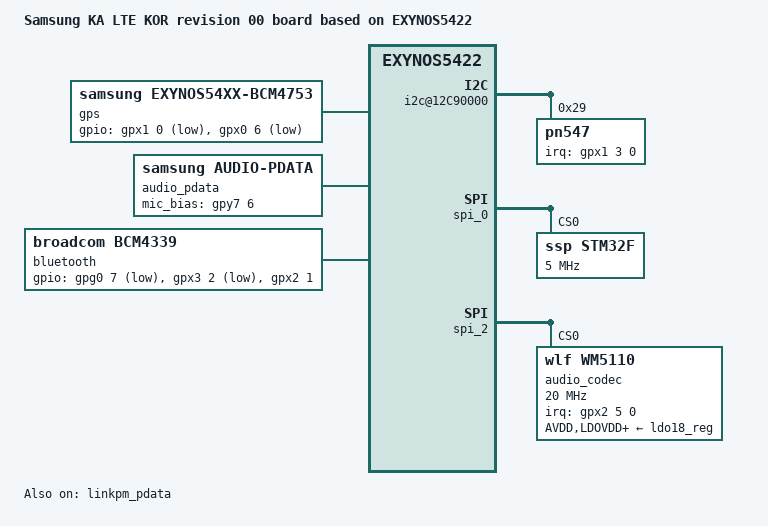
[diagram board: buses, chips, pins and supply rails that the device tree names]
/*
 * SAMSUNG universal5422 board device tree source
 *
 * Copyright (c) 2013 Samsung Electronics Co., Ltd.
 *             http://www.samsung.com
 *
 * This program is free software; you can redistribute it and/or modify
 * it under the terms of the GNU General Public License version 2 as
 * published by the Free Software Foundation.
*/

/dts-v1/;
#include "exynos5422-k_common.dtsi"
#include "exynos5422-k_battery.dtsi"
#include "exynos5422-tdmb-klte-r00.dtsi"

/ {
	model = "Samsung KA LTE KOR revision 00 board based on EXYNOS5422";
	model_info-chip = <5422>;
	model_info-platform = "k3g";
	model_info-subtype = "k3g_eur_open";
	model_info-hw_rev = <0>;
	model_info-hw_rev_end = <0>;
	compatible = "samsung,KA LTE KOR,r00", "samsung,exynos5422";


	pinctrl@14010000 {
		uart1_rts: uart1-rts {
			samsung,pins = "gpa0-7";
			samsung,pin-function = <2>;
			samsung,pin-pud = <0>;
			samsung,pin-con-pdn = <1>;
			samsung,pin-pud-pdn = <0>;
		};

		uart1_cts: uart1-cts {
			samsung,pins = "gpa0-6";
			samsung,pin-function = <2>;
			samsung,pin-pud = <0>;
			samsung,pin-con-pdn = <2>;
			samsung,pin-pud-pdn = <1>;
		};

		uart1_tx: uart1-tx {
			samsung,pins = "gpa0-5";
			samsung,pin-function = <2>;
			samsung,pin-pud = <0>;
			samsung,pin-con-pdn = <2>;
			samsung,pin-pud-pdn = <3>;
		};

		uart1_rx: uart1-rx {
			samsung,pins = "gpa0-4";
			samsung,pin-function = <2>;
			samsung,pin-pud = <3>;
			samsung,pin-con-pdn = <2>;
			samsung,pin-pud-pdn = <3>;
		};

		nfc_cfg: nfc-cfg {
			samsung,pins = "gph0-6";
			samsung,pin-function = <2>;
		};
	};

	serial@12C10000 {
		pinctrl-0 = <&uart1_rts &uart1_cts &uart1_tx &uart1_rx>;
	};

	gps {
		compatible = "samsung,exynos54xx-bcm4753";
		gpios = <&gpx1 0 0x1   /* GPS_EN */
             &gpx0 6 0xf   /* GPS_INT */
			>;
		status = "okay";
	};

	i2c@12C90000 {
		samsung,i2c-sda-delay = <100>;
		samsung,i2c-max-bus-freq = <400000>;
		#address-cells = <1>;
		#size-cells = <0>;
		status = "okay";

		pn547@29 {
			compatible = "pn547";
			reg = <0x29>;
			interrupts = <3 0 0>;
			interrupt-parent = <&gpx1>;

			pn547-en = <&gpg1 2 0x00>;
			pn547-firmware = <&gpg1 1 0x00>;
			pn547-irq = <&gpx1 3 0xf>;
			pn547-clk-req = <&gpx0 0 0xf>;
			pn547-clk-use = <1>;
			pinctrl-names = "default";
			pinctrl-0 = <&nfc_cfg>;
			clocks = <&clock 1217>;
			clock-names = "sclk_isp_sensor1";
		};
	};

	spi_0: spi@12d20000 {
		#address-cells = <1>;
		#size-cells = <0>;
		pinctrl-names = "default";
		pinctrl-0 = <&spi0_bus>;

		STM32F@0 {
			compatible = "ssp,STM32F";
			reg = <0>;
			spi-max-frequency = <5000000>;
			pinctrl-names = "default";
			pinctrl-0 = <&ssp_irq &ssp_irq2 &ssp_ap_int>;

			gpio-controller;
			#gpio-cells = <2>;
			ssp-irq = <&gpx3 3 0x00>;
			ssp-irq2 = <&gpx3 4 0x00>;
			ssp-ap-int = <&gpx3 0 0x00>;
			ssp-reset = <&gpg0 0 0x00>;
			ssp-acc-position = <1>;
			ssp-mag-position = <6>;
			ssp-sns-combination = <0>;
			ssp-ap-rev = <1>;

			controller-data {
				cs-gpio = <&gpa2 1 0>;
				samsung,spi-feedback-delay = <0>;
			};
		};
	};

	/* modem_interface_driver: 3G */
	mif_pdata {
		compatible = "sec_modem,modem_pdata";
		status = "okay";
		pinctrl-names = "default";
		pinctrl-0 = <&ap_dump_int &cp_on &reset_req_n>;

		mif,gpio_cp_on = <&gpg1 4 0x1>;
		mif,gpio_reset_req_n = <&gpj4 1 0x1>;
		mif,gpio_cp_reset = <&gpx1 1 0x1>;
		mif,gpio_pda_active = <&gpx3 6 0x1>;
		mif,gpio_phone_active = <&gpx2 7 0xf>;
		mif,gpio_cp_dump_int = <&gpx2 6 0x0>;
		mif,gpio_ap_dump_int = <&gpg1 6 0x1>;
	}; /* end of mif_pdata */

	/* modem_interface_driver: 3G */
	linkpm_pdata {
		compatible = "sec_modem,linkpm_pdata";
		status = "okay";
		pinctrl-names = "default";
		pinctrl-0 = <&link_active &link_slavewake>;

		reg = <0x12110000 0x100>, /* EHCI */
		      <0x12130000 0x100>; /* PHY */

		linkpm,gpio_link_active = <&gpg1 7 0x1>;
		linkpm,gpio_link_hostwake = <&gpx1 2 0xf>;
		linkpm,gpio_link_slavewake = <&gpg1 0 0x1>;
		linkpm,gpio_suspend_req = <&gpg1 3 0x1>;
	};

	pinctrl@14000000 {
		link_slavewake: link_slavewake {
			samsung,pins = "gpg1-0";
			samsung,pin-function = <1>;
			samsung,pin-con-pdn = <3>;
			samsung,pin-pud-pdn = <0>;
		};
		cp_on: cp_on {
			samsung,pins = "gpg1-4";
			samsung,pin-function = <1>;
			samsung,pin-con-pdn = <0>;
			samsung,pin-pud-pdn = <0>;
		};
		ap_dump_int: ap_dump_int {
			samsung,pins = "gpg1-6";
			samsung,pin-function = <1>;
			samsung,pin-con-pdn = <3>;
			samsung,pin-pud-pdn = <0>;
		};
		link_active: link_active {
			samsung,pins = "gpg1-7";
			samsung,pin-function = <1>;
			samsung,pin-con-pdn = <0>;
			samsung,pin-pud-pdn = <0>;
		};
		reset_req_n: reset_req_n {
			samsung,pins = "gpj4-1";
			samsung,pin-function = <1>;
			samsung,pin-con-pdn = <1>;
			samsung,pin-pud-pdn = <0>;
		};
	};

	spi_2: spi@12d40000 {
		#address-cells = <1>;
		#size-cells = <0>;
		pinctrl-names = "default";
		pinctrl-0 = <&spi2_bus>;

		audio_codec: wm5110@0 {
			compatible = "wlf,wm5110";
			reg = <0x0>;
			spi-max-frequency = <20000000>;
			interrupts = <5 0 0>;
			interrupt-parent = <&gpx2>;

			gpio-controller;
			#gpio-cells = <2>;

			pinctrl-names ="default";
			pinctrl-0 = <&codec_ctrl &audio_ctrl>;

			wlf,reset = <&gpg2 0 0>;
			wlf,ldoena = <&gpg0 1 0>;
			wlf,micd-detect-debounce = <500>;
			wlf,micd-bias-start-time = <0x1>;
			wlf,micd-rate = <0x7>;
			wlf,micd-dbtime = <0x1>;
			wlf,micd-timeout = <1000>;
			wlf,micd-force-micbias;
			wlf,micd-ranges = <
				139 226
				295 115
				752 114
				1257 217
			>;

			wlf,micd-configs = <
				0x0 1 0
			>;

			wlf,micbias1 = <2800 0 1 0 0>;
			wlf,micbias2 = <1800 0 1 0 0>;
			wlf,micbias3 = <1800 0 1 0 0>;

			wlf,gpio-defaults = <
				0xA101
				0xA101
				0xA101
				0xA101
				0x8101
			>;

			wlf,gpsw = <0x3>;
			wlf,use-jd-gpio;
			wlf,jd-gpio-nopull;
			wlf,micd-software-compare;

			wlf,max-channels-clocked = <2 0 0>;
			/* 0:MICVDD 1:MICBIAS1 2:MICBIAS2 3:MICBIAS3 */
			wlf,dmic-ref = <2 1 3 2>;
			/* 1st cell:IN1 2rd cell:IN2 3nd cell:IN3 4th cell:IN4 */
			wlf,inmode = <2 0 2 2>;

			AVDD-supply = <&ldo18_reg>;
			LDOVDD-supply = <&ldo18_reg>;
			DBVDD1-supply = <&ldo18_reg>;

			CPVDD-supply = <&ldo18_reg>;
			DBVDD2-supply = <&ldo18_reg>;
			DBVDD3-supply = <&ldo18_reg>;
			SPKVDDL-supply = <&ldo18_reg>;
			SPKVDDR-supply = <&ldo18_reg>;

			adsps {
				#address-cells = <1>;
				#size-cells = <0>;

				adsp@1100 {
					reg = <0x1100>;
					firmware {
						EDAC {
							wlf,wmfw-file = "edac";
							wlf,bin-file = "edac";
						};
						TRACE {
							wlf,wmfw-file = "trace";
							wlf,compr-caps = <1 8 0x1FFE 0x4 1>;
						};
					};
				};
				adsp@1200 {
					reg = <0x1200>;
					firmware {
						TX_NB {
							wlf,wmfw-file = "tx-nb";
						};
						TX_WB {
							wlf,wmfw-file = "tx-wb";
						};
					};
				};
				adsp@1300 {
					reg = <0x1300>;
					firmware {
						TX_NB {
							wlf,wmfw-file = "tx-nb";
							wlf,bin-file = "tx-nb";
						};
						TX_WB {
							wlf,wmfw-file = "tx-wb";
							wlf,bin-file = "tx-wb";
						};
						VOICECONTROL {
							wlf,wmfw-file = "ez2-control";
							wlf,bin-file = "ez2-control";
						};
					};
				};
				adsp@1400 {
					reg = <0x1400>;
					firmware {
						RX_NB {
							wlf,wmfw-file = "rx-anc-nb";
							wlf,bin-file = "rx-anc-nb";
						};
						RX_WB {
							wlf,wmfw-file = "rx-anc-wb";
							wlf,bin-file = "rx-anc-wb";
						};
					};
				};
			};
			controller-data {
				cs-gpio = <&gpb1 2 0>;
				samsung,spi-feedback-delay = <0>;
			};
		};
	};

	audio_pdata {
		compatible = "samsung,audio-pdata";

		mic_bias_gpio = <&gpy7 6 0>;
		status = "okay";
	};

	pinctrl@13400000 {
		audio_ctrl: audio-ctl {
			samsung,pins = "gpy7-6";
			samsung,pin-con-pdn = <3>;
		};

	};

	pinctrl@14000000 {
		codec_ctrl: codec-ctl {
			samsung,pins ="gpg2-0", "gpg0-1";
			samsung,pin-con-pdn =<3>;
		};

	};

	pinctrl@13400000 {
		cfg_btgpio: cfg-btgpio {
			samsung,pins = "gpx2-1";
			samsung,pin-function = <0>;
			samsung,pin-pud = <0x03>;
		};
	};

	bluetooth {
		compatible = "broadcom,bcm4339";

		gpios = <&gpg0 7 1	/*BT_EN*/
				&gpx3 2 1	/*BT_WAKE*/
				&gpx2 1 0	/*BT_HOST_WAKE*/ >;

		pinctrl-names = "default";
		pinctrl-0=<&cfg_btgpio>;
		status = "okay";
	};

};
